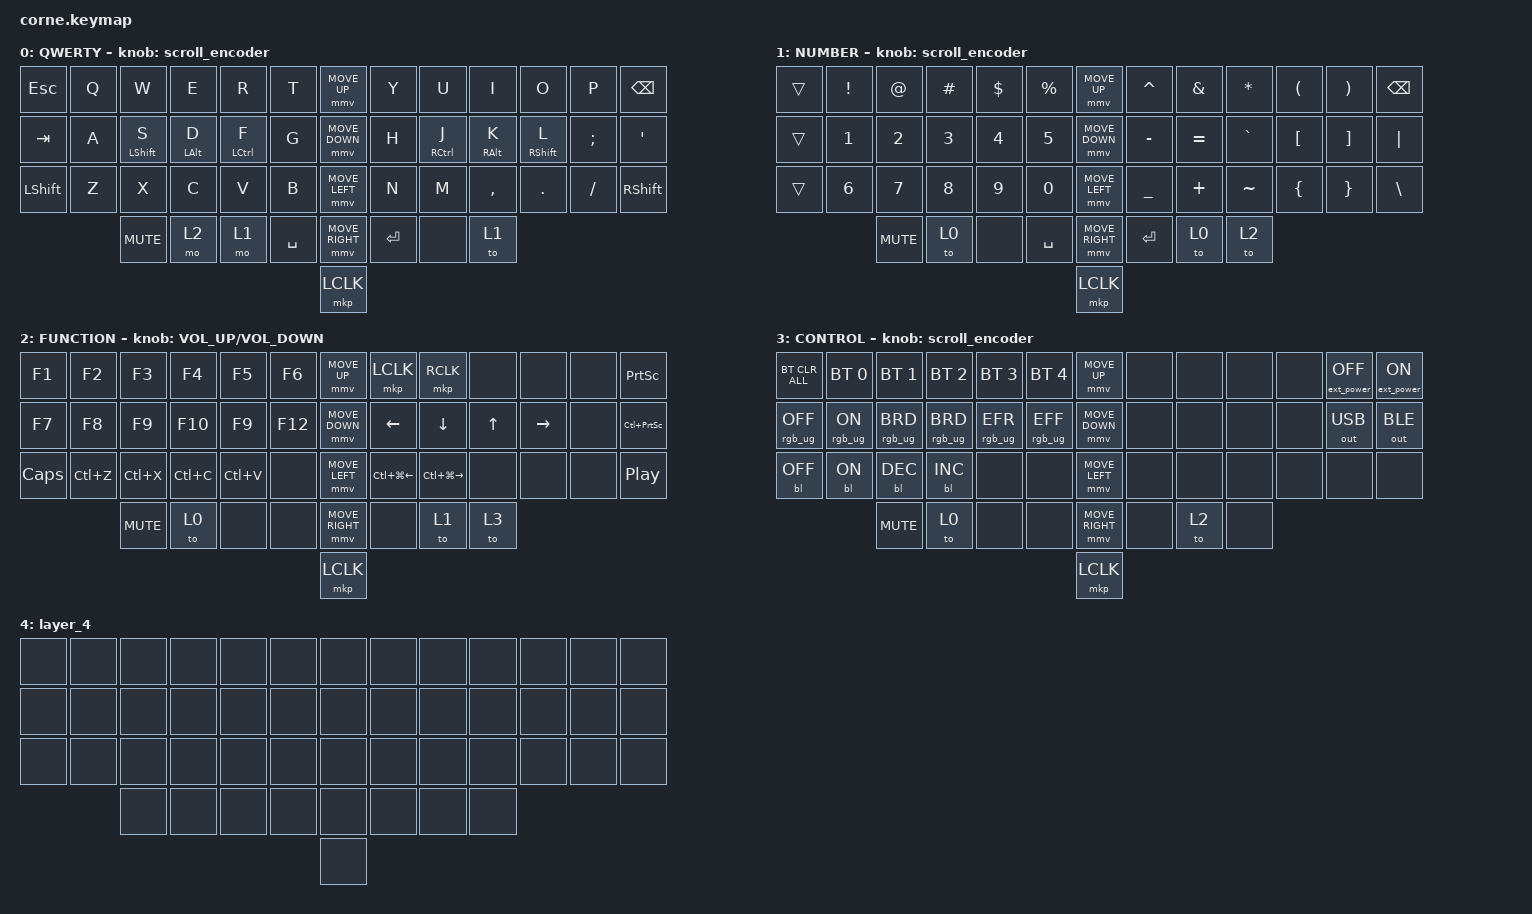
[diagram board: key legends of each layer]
#include <behaviors/mouse_keys.dtsi>
#include <dt-bindings/zmk/mouse.h>
#include <behaviors.dtsi>
#include <dt-bindings/zmk/backlight.h>
#include <dt-bindings/zmk/bt.h>
#include <dt-bindings/zmk/ext_power.h>
#include <dt-bindings/zmk/keys.h>
#include <dt-bindings/zmk/outputs.h>
#include <dt-bindings/zmk/pointing.h>
#include <dt-bindings/zmk/pointing.h>
#include <dt-bindings/zmk/pointing.h>
#include <dt-bindings/zmk/rgb.h>

#define ZMK_MOUSE_DEFAULT_MOVE_VAL 1200  // 600
#define ZMK_MOUSE_DEFAULT_SCRL_VAL 20    // 10
#define U_MS_U &mmv MOVE_UP
#define U_MS_D &mmv MOVE_DOWN
#define U_MS_L &mmv MOVE_LEFT
#define U_MS_R &mmv MOVE_RIGHT

/ {
    behaviors {
        shift_caps: shift_caps {
            compatible = "zmk,behavior-tap-dance";
            label = "SHIFT_CAPS";
            #binding-cells = <0>;
            bindings = <&kp LEFT_SHIFT>, <&kp CAPS>;
        };

        copy: copy {
            compatible = "zmk,behavior-tap-dance";
            label = "COPY";
            #binding-cells = <0>;
            bindings = <&kp C>, <&kp LC(C)>;
        };

        paste: paste {
            compatible = "zmk,behavior-tap-dance";
            label = "PASTE";
            #binding-cells = <0>;
            bindings = <&kp V>, <&kp LC(V)>;
        };

        undo: undo {
            compatible = "zmk,behavior-tap-dance";
            label = "UNDO";
            #binding-cells = <0>;
            bindings = <&kp Z>, <&kp LC(Z)>;
        };

        xcopy: xcopy {
            compatible = "zmk,behavior-tap-dance";
            label = "XCOPY";
            #binding-cells = <0>;
            bindings = <&kp X>, <&kp LC(X)>;
        };

        home_row: home_row {
            compatible = "zmk,behavior-hold-tap";
            label = "HOME_ROW";
            bindings = <&kp>, <&kp>;

            #binding-cells = <2>;
            tapping-term-ms = <200>;
            quick-tap-ms = <0>;
            flavor = "tap-preferred";
        };

        mmv {
            acceleration-exponent = <1>;      // 1
            time-to-max-speed-ms = <900>;    // 40
            delay-ms = <0>;                   // 0
        };

        msc {
            acceleration-exponent = <1>;      // 0
            time-to-max-speed-ms = <400>;      // 500
            delay-ms = <0>;                   // 10
        };
    };

    rgb_encoder: rgb_encoder {
        compatible = "zmk,behavior-sensor-rotate";
        label = "RGB_ENCODER";
        #sensor-binding-cells = <0>;
        bindings = <&rgb_ug RGB_BRI>, <&rgb_ug RGB_BRD>;
    };

    scroll_encoder: scroll_encoder {
        compatible = "zmk,behavior-sensor-rotate";
        #sensor-binding-cells = <0>;
        bindings = <&msc MOVE_DOWN>, <&msc MOVE_UP>;

        tap-ms = <30>;
        label = "SCROLL_ENCODER";
    };

    keymap {
        compatible = "zmk,keymap";

        default_layer {
            display-name = "QWERTY";

            // --------------------------------------------------------------------------------
            // |  TAB |  Q  |  W  |  E  |  R  |  T  |                ↑    |  Y  |  U   |  I  |  O  |  P  | BKSP |      &kp UP_ARROW 
            // | SHIFT |  A  |  S  |  D  |  F  |  G  |               ↓    |  H  |  J   |  K  |  L  |  ;  |  '   | 
            // | CTRL |  Z  |  X  |  C  |  V  |  B  |                ←    |  N  |  M   |  ,  |  .  |  /  | ESC  |
            //                    | GUI | LWR | SPC |                →    | ENT | RSE  | ALT |
            //                                                      enter

            bindings = <
&kp ESC         &kp Q  &kp W                   &kp E                 &kp R                     &kp T        &mmv MOVE_UP     &kp Y      &kp U                      &kp I                  &kp O                    &kp P     &kp BSPC
&kp TAB         &kp A  &home_row LEFT_SHIFT S  &home_row LEFT_ALT D  &home_row LEFT_CONTROL F  &kp G        &mmv MOVE_DOWN   &kp H      &home_row RIGHT_CONTROL J  &home_row RIGHT_ALT K  &home_row RIGHT_SHIFT L  &kp SEMI  &kp SQT
&kp LEFT_SHIFT  &kp Z  &kp X                   &kp C                 &kp V                     &kp B        &mmv MOVE_LEFT   &kp N      &kp M                      &kp COMMA              &kp DOT                  &kp FSLH  &kp RIGHT_SHIFT
                       &kp C_MUTE              &mo 2                 &mo 1                     &kp SPACE    &mmv MOVE_RIGHT  &kp ENTER  &none                      &to 1
                                                                                                            &mkp LCLK
            >;

            label = "QWERTY";
            sensor-bindings = <&scroll_encoder>;
        };

        lower_layer {
            display-name = "NUMBER";

            // -----------------------------------------------------------------------------------------
            // |  TAB |  1  |  2  |  3  |  4  |  5  |   |  6  |  7  |  8  |  9  |  0  | BKSP |
            // | BTCLR| BT1 | BT2 | BT3 | BT4 | BT5 |   | LFT | DWN |  UP | RGT |     |      |
            // | SHFT |     |     |     |     |     |   |     |     |     |     |     |      |
            //                    | GUI |     | SPC |   | ENT |     | ALT |

            bindings = <
&trans  &kp EXCLAMATION  &kp AT_SIGN   &kp HASH      &kp DOLLAR    &kp PRCNT       &mmv MOVE_UP     &kp CARET       &kp AMPERSAND  &kp ASTERISK  &kp LEFT_PARENTHESIS  &kp RIGHT_PARENTHESIS  &kp BSPC
&trans  &kp NUMBER_1     &kp NUMBER_2  &kp NUMBER_3  &kp NUMBER_4  &kp NUMBER_5    &mmv MOVE_DOWN   &kp MINUS       &kp EQUAL      &kp GRAVE     &kp LEFT_BRACKET      &kp RIGHT_BRACKET      &kp PIPE
&trans  &kp NUMBER_6     &kp NUMBER_7  &kp NUMBER_8  &kp NUMBER_9  &kp NUMBER_0    &mmv MOVE_LEFT   &kp UNDERSCORE  &kp PLUS       &kp TILDE     &kp LEFT_BRACE        &kp RIGHT_BRACE        &kp BACKSLASH
                         &kp C_MUTE    &to 0         &none         &kp SPACE       &mmv MOVE_RIGHT  &kp ENTER       &to 0          &to 2
                                                                                   &mkp LCLK
            >;

            label = "NUMBER";
            sensor-bindings = <&scroll_encoder>;
        };

        raise_layer {
            display-name = "FUNCTION";

            // -----------------------------------------------------------------------------------------
            // |  TAB |  !  |  @  |  #  |  $  |  %  |   |  ^  |  &  |  *  |  (  |  )  | BKSP |
            // | CTRL |     |     |     |     |     |   |  -  |  =  |  [  |  ]  |  \  |  `   |
            // | SHFT |     |     |     |     |     |   |  _  |  +  |  {  |  }  | "|" |  ~   |
            //                    | GUI |     | SPC |   | ENT |     | ALT |

            bindings = <
&kp F1    &kp F2     &kp F3      &kp F4     &kp F5     &kp F6     &mmv MOVE_UP     &mkp LCLK               &mkp RCLK          &none         &none      &none  &kp PRINTSCREEN
&kp F7    &kp F8     &kp F9      &kp F10    &kp F9     &kp F12    &mmv MOVE_DOWN   &kp LEFT                &kp DOWN           &kp UP_ARROW  &kp RIGHT  &none  &kp LC(PRINTSCREEN)
&kp CAPS  &kp LC(Z)  &kp LC(X)   &kp LC(C)  &kp LC(V)  &none      &mmv MOVE_LEFT   &kp LC(LG(LEFT_ARROW))  &kp LC(LG(RIGHT))  &none         &none      &none  &kp C_PLAY_PAUSE
                     &kp C_MUTE  &to 0      &none      &none      &mmv MOVE_RIGHT  &none                   &to 1              &to 3
                                                                  &mkp LCLK
            >;

            label = "FUNCTION";
            sensor-bindings = <&inc_dec_kp C_VOLUME_UP C_VOLUME_DOWN>;
        };

        layer_3 {
            display-name = "CONTROL";
            bindings = <
&bt BT_CLR_ALL   &bt BT_SEL 0    &bt BT_SEL 1     &bt BT_SEL 2     &bt BT_SEL 3     &bt BT_SEL 4       &mmv MOVE_UP     &none  &none  &none  &none  &ext_power EP_OFF  &ext_power EP_ON
&rgb_ug RGB_OFF  &rgb_ug RGB_ON  &rgb_ug RGB_BRD  &rgb_ug RGB_BRD  &rgb_ug RGB_EFR  &rgb_ug RGB_EFF    &mmv MOVE_DOWN   &none  &none  &none  &none  &out OUT_USB       &out OUT_BLE
&bl BL_OFF       &bl BL_ON       &bl BL_DEC       &bl BL_INC       &none            &none              &mmv MOVE_LEFT   &none  &none  &none  &none  &none              &none
                                 &kp C_MUTE       &to 0            &none            &none              &mmv MOVE_RIGHT  &none  &to 2  &none
                                                                                                       &mkp LCLK
            >;

            label = "CONTROL";
            sensor-bindings = <&scroll_encoder>;
        };

        layer_4 {
            bindings = <
&none  &none  &none  &none  &none  &none    &none  &none  &none  &none  &none  &none  &none
&none  &none  &none  &none  &none  &none    &none  &none  &none  &none  &none  &none  &none
&none  &none  &none  &none  &none  &none    &none  &none  &none  &none  &none  &none  &none
              &none  &none  &none  &none    &none  &none  &none  &none
                                            &none
            >;
        };
    };
};
